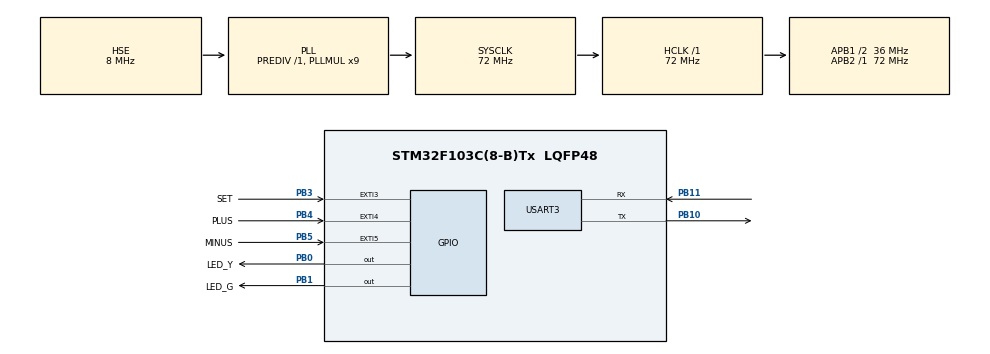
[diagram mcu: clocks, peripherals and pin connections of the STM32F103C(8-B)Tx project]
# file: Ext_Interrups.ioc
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Mcu.Family=STM32F1
Mcu.Name=STM32F103C(8-B)Tx
Mcu.Package=LQFP48
NVIC.EXTI3_IRQn=true\:15\:0\:true\:false\:true\:true\:true
NVIC.EXTI4_IRQn=true\:15\:0\:true\:false\:true\:true\:true
NVIC.EXTI9_5_IRQn=true\:15\:0\:true\:false\:true\:true\:true
NVIC.PriorityGroup=NVIC_PRIORITYGROUP_4
PA13.Mode=Serial_Wire
PA13.Signal=SYS_JTMS-SWDIO
PA14.Mode=Serial_Wire
PA14.Signal=SYS_JTCK-SWCLK
PB0.GPIO_Label=LED_Y
PB0.Signal=GPIO_Output
PB1.GPIO_Label=LED_G
PB1.Signal=GPIO_Output
PB10.Mode=Asynchronous
PB10.Signal=USART3_TX
PB11.Mode=Asynchronous
PB11.Signal=USART3_RX
PB3.GPIO_Label=SET
PB3.GPIO_ModeDefaultEXTI=GPIO_MODE_IT_RISING_FALLING
PB3.GPIO_PuPd=GPIO_PULLUP
PB3.Signal=GPXTI3
PB4.GPIO_Label=PLUS
PB4.GPIO_ModeDefaultEXTI=GPIO_MODE_IT_RISING_FALLING
PB4.GPIO_PuPd=GPIO_PULLUP
PB4.Signal=GPXTI4
PB5.GPIO_Label=MINUS
PB5.GPIO_ModeDefaultEXTI=GPIO_MODE_IT_RISING_FALLING
PB5.GPIO_PuPd=GPIO_PULLUP
PB5.Signal=GPXTI5
PD0-OSC_IN.Mode=HSE-External-Oscillator
PD0-OSC_IN.Signal=RCC_OSC_IN
PD1-OSC_OUT.Mode=HSE-External-Oscillator
PD1-OSC_OUT.Signal=RCC_OSC_OUT
ProjectManager.HeapSize=0x200
ProjectManager.StackSize=0x400
ProjectManager.TargetToolchain=STM32CubeIDE
RCC.AHBFreq_Value=72000000
RCC.APB1CLKDivider=RCC_HCLK_DIV2
RCC.APB1Freq_Value=36000000
RCC.APB1TimFreq_Value=72000000
RCC.APB2Freq_Value=72000000
RCC.APB2TimFreq_Value=72000000
RCC.EnbaleCSS=true
RCC.HCLKFreq_Value=72000000
RCC.PLLMUL=RCC_PLL_MUL9
RCC.PLLSourceVirtual=RCC_PLLSOURCE_HSE
RCC.SYSCLKFreq_VALUE=72000000
RCC.SYSCLKSource=RCC_SYSCLKSOURCE_PLLCLK
RCC.TimSys_Div=SYSTICK_CLKSOURCE_HCLK_DIV8
RCC.USBFreq_Value=72000000
USART3.VirtualMode=VM_ASYNC
board=custom

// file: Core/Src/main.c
/* USER CODE BEGIN Header */
/**
  ******************************************************************************
  * @file           : main.c
  * @brief          : Main program body
  ******************************************************************************
  * @attention
  *
  * <h2><center>&copy; Copyright (c) 2021 STMicroelectronics.
  * All rights reserved.</center></h2>
  *
  * This software component is licensed by ST under BSD 3-Clause license,
  * the "License"; You may not use this file except in compliance with the
  * License. You may obtain a copy of the License at:
  *                        opensource.org/licenses/BSD-3-Clause
  *
  ******************************************************************************
  ******************************************************************************
  ******************************************************************************

  https://easystm32.ru/for-beginners/25-interrupts-handling-in-stm32/
  http://dimoon.ru/obuchalka/stm32f1/programmirovanie-stm32-chast-15-vneshnie-preryivaniya-exti.html
  https://habr.com/ru/post/218825/
  http://www.count-zero.ru/2016/stm32_gpio/

  */

/* USER CODE END Header */
#include "main.h"
#include "usart.h"
#include "gpio.h"

/* USER CODE BEGIN PV */

#define PRESSED 0;
#define RELEASED 1;

char buffer[BUFFER_SIZE];

typedef struct {
	uint16_t set;
	uint16_t plus;
	uint16_t minus;

	uint8_t set_state;
	uint8_t plus_state;
	uint8_t minus_state;
} App;

App app = {0, 0, 0, 0, 0, 0};

/* USER CODE END PV */

void SystemClock_Config(void);

/* USER CODE BEGIN 0 */
void HAL_GPIO_EXTI_Callback_2(uint16_t GPIO_Pin)
{
	if(GPIO_Pin == SET_Pin) {
		app.set++;
		HAL_GPIO_TogglePin(LED_G_GPIO_Port, LED_G_Pin);
	}
	else if(GPIO_Pin == PLUS_Pin){
		app.plus++;
		HAL_GPIO_TogglePin(LED_Y_GPIO_Port, LED_Y_Pin);
	} else if (GPIO_Pin == MINUS_Pin){
		app.minus++;
		__NOP();
	}
	//HAL_GPIO_EXTI_IRQHandler(GPIO_Pin);
	snprintf(buffer, 100, "set: %02u plus: %02u minus: %02u\n", app.set, app.plus, app.minus);
	HAL_UART_Transmit(&huart3, (uint8_t*)buffer, strlen(buffer), 100);
}

void HAL_GPIO_EXTI_Callback(uint16_t GPIO_Pin)
{
	if(GPIO_Pin == SET_Pin) {
		app.set++;
		HAL_GPIO_TogglePin(LED_G_GPIO_Port, LED_G_Pin);
	}
	else if(GPIO_Pin == PLUS_Pin){

		app.plus++;
		HAL_GPIO_TogglePin(LED_Y_GPIO_Port, LED_Y_Pin);

	} else if (GPIO_Pin == MINUS_Pin){
		app.minus++;
		__NOP();
	}
	//HAL_GPIO_EXTI_IRQHandler(GPIO_Pin);

	snprintf(buffer, 100, "set: %02u plus: %02u minus: %02u\n", app.set, app.plus, app.minus);
	HAL_UART_Transmit(&huart3, (uint8_t*)buffer, strlen(buffer), 100);
	HAL_Delay(100);
}

/* USER CODE END 0 */

int main(void)
{

  /* MCU Configuration--------------------------------------------------------*/

  /* Reset of all peripherals, Initializes the Flash interface and the Systick. */
  HAL_Init();

  /* Configure the system clock */
  SystemClock_Config();

  /* Initialize all configured peripherals */
  MX_GPIO_Init();
  MX_USART3_UART_Init();
  /* USER CODE BEGIN 2 */
  snprintf(buffer, 100, "Hello world!\n");
  	HAL_UART_Transmit(&huart3, (uint8_t*)buffer, strlen(buffer), 100);
  /* USER CODE END 2 */

  /* Infinite loop */
  while (1)
  {

  }
}

void SystemClock_Config(void)
{
  RCC_OscInitTypeDef RCC_OscInitStruct = {0};
  RCC_ClkInitTypeDef RCC_ClkInitStruct = {0};

  /** Initializes the RCC Oscillators according to the specified parameters
  * in the RCC_OscInitTypeDef structure.
  */
  RCC_OscInitStruct.OscillatorType = RCC_OSCILLATORTYPE_HSE;
  RCC_OscInitStruct.HSEState = RCC_HSE_ON;
  RCC_OscInitStruct.HSEPredivValue = RCC_HSE_PREDIV_DIV1;
  RCC_OscInitStruct.HSIState = RCC_HSI_ON;
  RCC_OscInitStruct.PLL.PLLState = RCC_PLL_ON;
  RCC_OscInitStruct.PLL.PLLSource = RCC_PLLSOURCE_HSE;
  RCC_OscInitStruct.PLL.PLLMUL = RCC_PLL_MUL9;
  if (HAL_RCC_OscConfig(&RCC_OscInitStruct) != HAL_OK)
  {
    Error_Handler();
  }
  /** Initializes the CPU, AHB and APB buses clocks
  */
  RCC_ClkInitStruct.ClockType = RCC_CLOCKTYPE_HCLK|RCC_CLOCKTYPE_SYSCLK
                              |RCC_CLOCKTYPE_PCLK1|RCC_CLOCKTYPE_PCLK2;
  RCC_ClkInitStruct.SYSCLKSource = RCC_SYSCLKSOURCE_PLLCLK;
  RCC_ClkInitStruct.AHBCLKDivider = RCC_SYSCLK_DIV1;
  RCC_ClkInitStruct.APB1CLKDivider = RCC_HCLK_DIV2;
  RCC_ClkInitStruct.APB2CLKDivider = RCC_HCLK_DIV1;

  if (HAL_RCC_ClockConfig(&RCC_ClkInitStruct, FLASH_LATENCY_2) != HAL_OK)
  {
    Error_Handler();
  }
  /** Enables the Clock Security System
  */
  HAL_RCC_EnableCSS();
}

void Error_Handler(void)
{
  __disable_irq();
  while (1)
  {
  }
}

/************************ (C) COPYRIGHT STMicroelectronics *****END OF FILE****/
